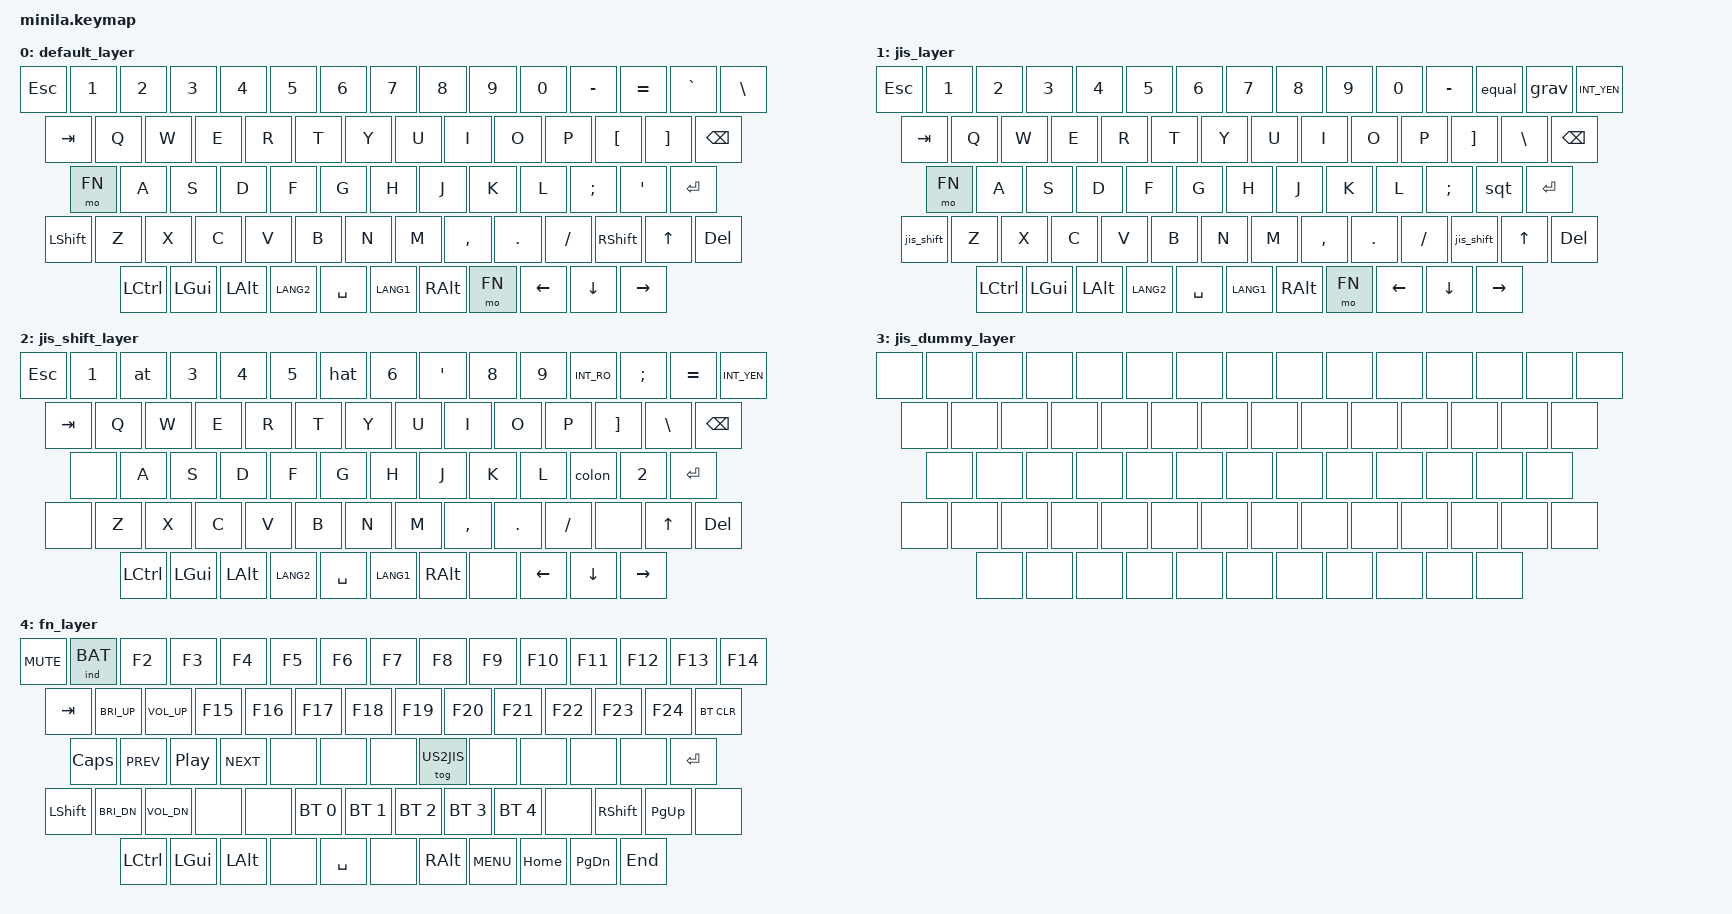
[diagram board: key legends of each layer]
/*
 * Copyright (c) 2024 The ZMK Contributors
 *
 * SPDX-License-Identifier: MIT
 */

#include <behaviors.dtsi>
#include <dt-bindings/zmk/keys.h>
#include <dt-bindings/zmk/bt.h>
#include <dt-bindings/zmk/led_indicators.h>

#define DEFAULT         0
#define US2JIS          1
#define US2JIS_SHIFT    2
#define US2JIS_DUMMY    3
#define FN              4

/ {
    macros {
        jis_shift: jis_shift {
            compatible = "zmk,behavior-macro";
            #binding-cells = <0>;
            bindings
                = <&macro_press &kp LSHFT>
                , <&macro_press &mo US2JIS_SHIFT>
                , <&macro_pause_for_release>
                , <&macro_release &mo US2JIS_SHIFT>
                , <&macro_release &kp LSHFT>
                ;
        };

        // JIS normal US shift
        at: at {
            compatible = "zmk,behavior-macro";
            #binding-cells = <0>;
            bindings
                = <&macro_press &mo US2JIS_DUMMY>
                , <&macro_release &kp LSHFT>
                , <&macro_tap &kp LBKT>
//                , <&macro_press &kp LBKT>
//                , <&macro_pause_for_release>
//                , <&macro_release &kp LBKT>
//                , <&macro_press &kp LSHFT>
                , <&macro_release &mo US2JIS_DUMMY>
                ;
        };
        hat: hat {
            compatible = "zmk,behavior-macro";
            #binding-cells = <0>;
            bindings
                = <&macro_press &mo US2JIS_DUMMY>
                , <&macro_release &kp LSHFT>
                , <&macro_tap &kp EQUAL>
//                , <&macro_press &kp EQUAL>
//                , <&macro_pause_for_release>
//                , <&macro_release &kp EQUAL>
//                , <&macro_press &kp LSHFT>
                , <&macro_release &mo US2JIS_DUMMY>
                ;
        };
        colon: colon {
            compatible = "zmk,behavior-macro";
            #binding-cells = <0>;
            bindings
                = <&macro_press &mo US2JIS_DUMMY>
                , <&macro_release &kp LSHFT>
                , <&macro_tap &kp SQT>
//                , <&macro_press &kp SQT>
//                , <&macro_pause_for_release>
//                , <&macro_release &kp SQT>
//                , <&macro_press &kp LSHFT>
                , <&macro_release &mo US2JIS_DUMMY>
                ;
        };

        // JIS shift US normal
        equal: equal {
            compatible = "zmk,behavior-macro";
            #binding-cells = <0>;
            bindings
                = <&macro_press &mo US2JIS_DUMMY>
                , <&macro_press &kp LSHFT>
                , <&macro_tap &kp MINUS>
                , <&macro_release &kp LSHFT>
//                , <&macro_press &kp LSHFT &kp MINUS>
//                , <&macro_pause_for_release>
//                , <&macro_release &kp MINUS &kp LSHFT>
                , <&macro_release &mo US2JIS_DUMMY>
                ;
        };
        sqt: sqt {
            compatible = "zmk,behavior-macro";
            #binding-cells = <0>;
            bindings
                = <&macro_press &mo US2JIS_DUMMY>
                , <&macro_press &kp LSHFT>
                , <&macro_tap &kp N7>
                , <&macro_release &kp LSHFT>
//                , <&macro_press &kp LSHFT &kp N7>
//                , <&macro_pause_for_release>
//                , <&macro_release &kp N7 &kp LSHFT>
                , <&macro_release &mo US2JIS_DUMMY>
                ;
        };
        grav: grav {
            compatible = "zmk,behavior-macro";
            #binding-cells = <0>;
            bindings
                = <&macro_press &mo US2JIS_DUMMY>
                , <&macro_press &kp LSHFT>
                , <&macro_tap &kp LBKT>
                , <&macro_release &kp LSHFT>
//                , <&macro_press &kp LSHFT &kp LBKT>
//                , <&macro_pause_for_release>
//                , <&macro_release &kp LBKT &kp LSHFT>
                , <&macro_release &mo US2JIS_DUMMY>
                ;
        };

        sel0_0: sel0_0 {
            compatible = "zmk,behavior-macro";
            #binding-cells = <0>;
            bindings
                = <&macro_press &kp LCTRL &kp LALT>
                , <&macro_tap &kp N4>
                , <&macro_release &kp LCTRL &kp LALT>
                ;
        };
        sel0_1: sel0_1 {
            compatible = "zmk,behavior-macro";
            #binding-cells = <0>;
            bindings
                = <&macro_press &kp LCTRL &kp LALT>
                , <&macro_tap &kp N5>
                , <&macro_release &kp LCTRL &kp LALT>
                ;
        };
        sel0_2: sel0_2 {
            compatible = "zmk,behavior-macro";
            #binding-cells = <0>;
            bindings
                = <&macro_press &kp LCTRL &kp LALT>
                , <&macro_tap &kp N6>
                , <&macro_release &kp LCTRL &kp LALT>
                ;
        };
        sel0_3: sel0_3 {
            compatible = "zmk,behavior-macro";
            #binding-cells = <0>;
            bindings
                = <&macro_press &kp LCTRL &kp LALT>
                , <&macro_tap &kp N7>
                , <&macro_release &kp LCTRL &kp LALT>
                ;
        };
        sel0_4: sel0_4 {
            compatible = "zmk,behavior-macro";
            #binding-cells = <0>;
            bindings
                = <&macro_press &kp LCTRL &kp LALT>
                , <&macro_tap &kp N8>
                , <&macro_release &kp LCTRL &kp LALT>
                ;
        };
        sel0_5: sel0_5 {
            compatible = "zmk,behavior-macro";
            #binding-cells = <0>;
            bindings
                = <&macro_press &kp LCTRL &kp LALT>
                , <&macro_tap &kp N9>
                , <&macro_release &kp LCTRL &kp LALT>
                ;
        };
        sel0_6: sel0_6 {
            compatible = "zmk,behavior-macro";
            #binding-cells = <0>;
            bindings
                = <&macro_press &kp LCTRL &kp LALT>
                , <&macro_tap &kp N0>
                , <&macro_release &kp LCTRL &kp LALT>
                ;
        };
        sel0_7: sel0_7 {
            compatible = "zmk,behavior-macro";
            #binding-cells = <0>;
            bindings
                = <&macro_press &kp LCTRL &kp LALT>
                , <&macro_tap &kp MINUS>
                , <&macro_release &kp LCTRL &kp LALT>
                ;
        };
        sel0_8: sel0_8 {
            compatible = "zmk,behavior-macro";
            #binding-cells = <0>;
            bindings
                = <&macro_press &kp LCTRL &kp LALT>
                , <&macro_tap &kp EQUAL>
                , <&macro_release &kp LCTRL &kp LALT>
                ;
        };
        sel0_9: sel0_9 {
            compatible = "zmk,behavior-macro";
            #binding-cells = <0>;
            bindings
                = <&macro_press &kp LCTRL &kp LALT>
                , <&macro_tap &kp GRAV>
                , <&macro_release &kp LCTRL &kp LALT>
                ;
        };
        
        sel1_0: sel1_0 {
            compatible = "zmk,behavior-macro";
            #binding-cells = <0>;
            bindings
                = <&macro_press &kp LCTRL &kp LALT>
                , <&macro_tap &kp Q>
                , <&macro_release &kp LCTRL &kp LALT>
                ;
        };
        
        sel1_1: sel1_1 {
            compatible = "zmk,behavior-macro";
            #binding-cells = <0>;
            bindings
                = <&macro_press &kp LCTRL &kp LALT &kp LSHFT>
                , <&macro_tap &kp Q>
                , <&macro_release &kp LCTRL &kp LALT &kp LSHFT>
                ;
        };
        
        sel1_2: sel1_2 {
            compatible = "zmk,behavior-macro";
            #binding-cells = <0>;
            bindings
                = <&macro_press &kp LCTRL &kp LALT &kp LSHFT>
                , <&macro_tap &kp W>
                , <&macro_release &kp LCTRL &kp LALT &kp LSHFT>
                ;
        };
        
        sel1_3: sel1_3 {
            compatible = "zmk,behavior-macro";
            #binding-cells = <0>;
            bindings
                = <&macro_press &kp LCTRL &kp LALT>
                , <&macro_tap &kp W>
                , <&macro_release &kp LCTRL &kp LALT>
                ;
        };
    };

    behaviors {
        sel0: selector_0 {
            compatible = "zmk,behavior-selector";
            #binding-cells = <1>;
            bindings = <&sel0_0>, <&sel0_1>, <&sel0_2>, <&sel0_3>, <&sel0_4>, <&sel0_5>, <&sel0_6>, <&sel0_8>, <&sel0_9>;
        };
        sel1: selector_1 {
            compatible = "zmk,behavior-selector";
            #binding-cells = <1>;
            bindings = <&sel1_0>, <&sel1_1>, <&sel1_2>, <&sel1_3>;
            loop;
        };
    };

    keymap {
        compatible = "zmk,keymap";

        default_layer {
            bindings = <
            &kp ESC &kp N1 &kp N2 &kp N3 &kp N4 &kp N5 &kp N6 &kp N7 &kp N8 &kp N9 &kp N0 &kp MINUS &kp EQUAL &kp GRAV &kp BSLH
            &kp TAB  &kp Q  &kp W  &kp E  &kp R  &kp T  &kp Y  &kp U  &kp I  &kp O  &kp P  &kp LBKT  &kp RBKT  &kp BSPC
            &mo FN  &kp A  &kp S  &kp D  &kp F  &kp G  &kp H  &kp J  &kp K  &kp L  &kp SEMI &kp SQT           &kp RET
            &kp LSHFT   &kp Z  &kp X  &kp C  &kp V  &kp B  &kp N  &kp M  &kp COMMA &kp DOT &kp FSLH           &kp RSHFT &kp UP &kp DEL
            &kp LCTRL &kp LGUI &kp LALT &kp LANG2    &kp SPACE    &kp LANG1            &kp RALT  &mo FN   &kp LEFT  &kp DOWN  &kp RIGHT
            >;
        };

        jis_layer {
            bindings = <
            &kp ESC &kp N1 &kp N2 &kp N3 &kp N4 &kp N5 &kp N6 &kp N7 &kp N8 &kp N9 &kp N0 &kp MINUS &equal &grav &kp INT_YEN
            &kp TAB  &kp Q  &kp W  &kp E  &kp R  &kp T  &kp Y  &kp U  &kp I  &kp O  &kp P  &kp RBKT  &kp BSLH  &kp BSPC
            &mo FN  &kp A  &kp S  &kp D  &kp F  &kp G  &kp H  &kp J  &kp K  &kp L  &kp SEMI &sqt           &kp RET
            &jis_shift   &kp Z  &kp X  &kp C  &kp V  &kp B  &kp N  &kp M  &kp COMMA &kp DOT &kp FSLH           &jis_shift &kp UP &kp DEL
            &kp LCTRL &kp LGUI &kp LALT &kp LANG2    &kp SPACE    &kp LANG1            &kp RALT  &mo FN   &kp LEFT  &kp DOWN  &kp RIGHT
            >;
        };

        jis_shift_layer {
            bindings = <
            &kp ESC &kp N1 &at &kp N3 &kp N4 &kp N5 &hat &kp N6 &kp SQT &kp N8 &kp N9 &kp INT_RO &kp SEMI &kp EQUAL &kp INT_YEN
            &kp TAB  &kp Q  &kp W  &kp E  &kp R  &kp T  &kp Y  &kp U  &kp I  &kp O  &kp P  &kp RBKT  &kp BSLH  &kp BSPC
            &none  &kp A  &kp S  &kp D  &kp F  &kp G  &kp H  &kp J  &kp K  &kp L  &colon &kp N2           &kp RET
            &none   &kp Z  &kp X  &kp C  &kp V  &kp B  &kp N  &kp M  &kp COMMA &kp DOT &kp FSLH           &none &kp UP &kp DEL
            &kp LCTRL &kp LGUI &kp LALT &kp LANG2    &kp SPACE    &kp LANG1            &kp RALT  &none   &kp LEFT  &kp DOWN  &kp RIGHT
            >;
        };

        jis_dummy_layer {
            bindings = <
            &none &none &none &none &none &none &none &none &none &none &none &none &none &none &none
            &none  &none  &none  &none  &none  &none  &none  &none  &none  &none  &none  &none  &none  &none
            &none  &none  &none  &none  &none  &none  &none  &none  &none  &none  &none &none           &none
            &none   &none  &none  &none  &none  &none  &none  &none  &none &none &none           &none &none &none
            &none &none &none &none    &none    &none            &none  &none   &none  &none  &none
            >;
        };

        fn_layer {
            bindings = <
            &kp C_MUTE  &ind BAT &kp F2 &kp F3  &kp F4 &kp F5 &kp F6 &kp F7 &kp F8 &kp F9 &kp F10  &kp F11 &kp F12 &kp F13 &kp F14
            &kp TAB &kp C_BRI_UP &kp C_VOL_UP &kp F15 &kp F16 &kp F17 &kp F18 &kp F19 &kp F20 &kp F21 &kp F22 &kp F23 &kp F24 &bt BT_CLR
            &kp CAPS  &kp C_PREV  &kp C_PP  &kp C_NEXT  &none  &none  &none  &tog US2JIS  &none  &none  &none &none           &kp RET
            &kp LSHFT  &kp C_BRI_DN &kp C_VOL_DN &none &none &bt BT_SEL 0 &bt BT_SEL 1 &bt BT_SEL 2 &bt BT_SEL 3 &bt BT_SEL 4 &none &kp RSHFT &kp PG_UP &none
            &kp LCTRL &kp LGUI &kp LALT &none    &kp SPACE    &none          &kp RALT  &kp K_MENU   &kp HOME  &kp PG_DN  &kp END
            >;
        };
    };
};
